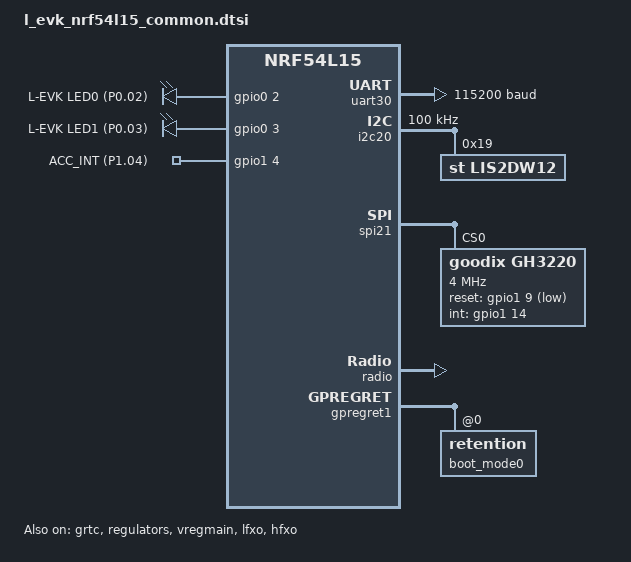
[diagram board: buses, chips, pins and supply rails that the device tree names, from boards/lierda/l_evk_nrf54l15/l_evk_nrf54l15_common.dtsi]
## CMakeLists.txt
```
cmake_minimum_required(VERSION 3.20.0)

# Keep the custom board versioned together with the application repository.
list(APPEND BOARD_ROOT ${CMAKE_CURRENT_SOURCE_DIR})

set(LIERDA_MODULE_ROOT ${CMAKE_CURRENT_SOURCE_DIR}/../../modules/lierda)
set(GH3220_APP_ROOT ${LIERDA_MODULE_ROOT}/l-evk-t2-gh3220/app_cardiff_a)

foreach(module gh3220_sdk os_adapter core_framework)
  if(NOT EXISTS ${LIERDA_MODULE_ROOT}/${module}/zephyr/module.yml AND
     NOT EXISTS ${LIERDA_MODULE_ROOT}/${module}/module.yml)
    message(FATAL_ERROR
      "Missing Lierda module '${module}'. Run ./update-modules.sh first.")
  endif()
  list(APPEND ZEPHYR_EXTRA_MODULES ${LIERDA_MODULE_ROOT}/${module})
endforeach()

if(NOT EXISTS ${GH3220_APP_ROOT}/src/gh3220_framework.c)
  message(FATAL_ERROR
    "Missing l-evk-t2-gh3220 example. Run ./update-modules.sh first.")
endif()

find_package(Zephyr REQUIRED HINTS $ENV{ZEPHYR_BASE})
project(l_evk_nrf54l15)

target_include_directories(app PRIVATE
  ${CMAKE_CURRENT_SOURCE_DIR}/src
  ${GH3220_APP_ROOT}/src
)

target_sources(app PRIVATE
  src/main.c
  src/imu_lis2dw12.c
  src/gh3220_ble_service.c
  ${GH3220_APP_ROOT}/src/gh3220_sdk/gh3220_app_hook_zephyr.c
  ${GH3220_APP_ROOT}/src/gh3220_framework.c
  ${GH3220_APP_ROOT}/src/gh3220_protocol_user.c
  ${GH3220_APP_ROOT}/src/gh3220_frame.c
  ${GH3220_APP_ROOT}/src/gh3220_scheduler.c
)
```

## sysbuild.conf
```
# Build MCUboot together with the application so DAPLink can install one
# reproducible pair and MCUmgr can use the matching signed BLE OTA image.
SB_CONFIG_BOOTLOADER_MCUBOOT=y
```

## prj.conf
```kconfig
# Enable the L-EVK board serial console and GPIO support.
CONFIG_GPIO=y
CONFIG_I2C=y
CONFIG_SPI=y
CONFIG_SERIAL=y
CONFIG_CONSOLE=y
CONFIG_UART_CONSOLE=y

# Use deferred UART logging so sensor and Bluetooth work is not blocked by
# formatted output.  The larger buffer absorbs the GH3220 startup burst while
# the shorter processing interval drains it promptly.
CONFIG_LOG=y
CONFIG_LOG_RUNTIME_FILTERING=y
CONFIG_LOG_MODE_IMMEDIATE=n
CONFIG_LOG_MODE_DEFERRED=y
CONFIG_LOG_DEFAULT_LEVEL=3
CONFIG_LOG_BACKEND_UART=y
CONFIG_LOG_BACKEND_SHOW_COLOR=n
CONFIG_LOG_BUFFER_SIZE=8192
CONFIG_LOG_PROCESS_THREAD_STACK_SIZE=1536
CONFIG_LOG_PROCESS_THREAD_SLEEP_MS=50
CONFIG_HWINFO=y

# Goodix GH3220 framework. Product register tables come from the vendor
# example while portable code and libraries come from modules/lierda.
CONFIG_FPU=y
CONFIG_FPU_SHARING=y
CONFIG_GH3220=y
CONFIG_GH3220_RTC_POLLING=y
CONFIG_GH3220_FUNC_HR_ENABLE=y
CONFIG_GH3220_ALGO=y
CONFIG_GH3220_ALGO_HR=y
CONFIG_GH3220_REG_LIST_SEARCH_PATH="../../modules/lierda/l-evk-t2-gh3220/app_cardiff_a/src/gh3220_sdk"
CONFIG_GH3220_SUPPORT_PROTOCOL_ANALYZE=y
CONFIG_GH3220_PROTOCOL_SERIAL_BLE=y
CONFIG_GH3220_UPLOAD_ALGO_RESULT=y
CONFIG_GH3220_MULTI_SENSOR_EVENT_PROCESS_ENABLE=n
CONFIG_COMPONENT_OSAL_ENABLE=y
CONFIG_OS_ADAPTER_RTOS_ZEPHYR=y
CONFIG_COMPONENT_CORE_FRAMEWORK_ENABLE=y
CONFIG_HEAP_MEM_POOL_SIZE=15360
CONFIG_GH3220_INFO_LOG_LEVEL=3

# MCUboot and MCUmgr image-management support for Bluetooth LE OTA.
CONFIG_BOOTLOADER_MCUBOOT=y
CONFIG_FLASH=y
CONFIG_FLASH_MAP=y
CONFIG_STREAM_FLASH=y
CONFIG_IMG_MANAGER=y
CONFIG_MCUMGR=y
CONFIG_MCUMGR_GRP_IMG=y
CONFIG_MCUMGR_GRP_OS=y
CONFIG_NET_BUF=y
CONFIG_ZCBOR=y
CONFIG_CRC=y

# Bluetooth LE SMP transport. The radio is an intentional product peripheral;
# the board definition only enables the peripherals populated on L-EVK.
CONFIG_BT=y
CONFIG_BT_PERIPHERAL=y
CONFIG_BT_DEVICE_NAME="L-EVK-NRF54L15"
CONFIG_BT_MAX_CONN=1
CONFIG_BT_L2CAP_TX_MTU=498
CONFIG_BT_BUF_ACL_RX_SIZE=502
CONFIG_BT_BUF_ACL_TX_SIZE=502
CONFIG_BT_CTLR_DATA_LENGTH_MAX=251
CONFIG_MCUMGR_TRANSPORT_BT=y
CONFIG_MCUMGR_TRANSPORT_BT_CONN_PARAM_CONTROL=y
CONFIG_MCUMGR_TRANSPORT_BT_REASSEMBLY=y
CONFIG_MCUMGR_TRANSPORT_NETBUF_SIZE=2475
CONFIG_MCUMGR_GRP_OS_MCUMGR_PARAMS=y
CONFIG_MCUMGR_TRANSPORT_WORKQUEUE_STACK_SIZE=4608

# MCUmgr requests are handled from the system work queue.
CONFIG_SYSTEM_WORKQUEUE_STACK_SIZE=4608
CONFIG_MAIN_STACK_SIZE=4096
CONFIG_THREAD_NAME=y
CONFIG_MCUBOOT_UTIL_LOG_LEVEL_WRN=y
```

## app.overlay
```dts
#include "dts/l_evk_ota_partitions.overlay"
```

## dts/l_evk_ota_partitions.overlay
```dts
/*
 * NCS SMP server-compatible layout for nRF54L15 internal RRAM.
 * Included explicitly by both the application and sysbuild's MCUboot image.
 *
 * This file intentionally does not use the boards/<board>.overlay name: that
 * name is auto-selected by Zephyr and would replace app.overlay.
 */

/delete-node/ &boot_partition;
/delete-node/ &slot0_partition;
/delete-node/ &slot1_partition;
/delete-node/ &storage_partition;

&cpuapp_rram {
	partitions {
		boot_partition: partition@0 {
			compatible = "zephyr,mapped-partition";
			label = "mcuboot";
			reg = <0x0 DT_SIZE_K(68)>;
		};

		slot0_partition: partition@11000 {
			compatible = "zephyr,mapped-partition";
			label = "image-0";
			reg = <0x11000 DT_SIZE_K(696)>;
		};

		slot1_partition: partition@bf000 {
			compatible = "zephyr,mapped-partition";
			label = "image-1";
			reg = <0xbf000 DT_SIZE_K(696)>;
		};

		storage_partition: partition@16d000 {
			compatible = "zephyr,mapped-partition";
			label = "storage";
			reg = <0x16d000 DT_SIZE_K(64)>;
		};
	};
};
```

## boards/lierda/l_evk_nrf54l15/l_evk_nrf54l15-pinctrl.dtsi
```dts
/* SPDX-License-Identifier: Apache-2.0 */

&pinctrl {
	uart30_default: uart30_default {
		group1 {
			psels = <NRF_PSEL(UART_TX, 0, 1)>;
		};

		group2 {
			psels = <NRF_PSEL(UART_RX, 0, 0)>;
			bias-pull-up;
		};
	};

	uart30_sleep: uart30_sleep {
		group1 {
			psels = <NRF_PSEL(UART_TX, 0, 1)>,
				<NRF_PSEL(UART_RX, 0, 0)>;
			low-power-enable;
		};
	};

	i2c20_default: i2c20_default {
		group1 {
			psels = <NRF_PSEL(TWIM_SCL, 1, 3)>,
				<NRF_PSEL(TWIM_SDA, 1, 6)>;
			bias-pull-up;
		};
	};

	i2c20_sleep: i2c20_sleep {
		group1 {
			psels = <NRF_PSEL(TWIM_SCL, 1, 3)>,
				<NRF_PSEL(TWIM_SDA, 1, 6)>;
			low-power-enable;
		};
	};

	spi21_default: spi21_default {
		group1 {
			psels = <NRF_PSEL(SPIM_SCK, 1, 12)>,
				<NRF_PSEL(SPIM_MOSI, 1, 13)>,
				<NRF_PSEL(SPIM_MISO, 1, 10)>;
		};
	};

	spi21_sleep: spi21_sleep {
		group1 {
			psels = <NRF_PSEL(SPIM_SCK, 1, 12)>,
				<NRF_PSEL(SPIM_MOSI, 1, 13)>,
				<NRF_PSEL(SPIM_MISO, 1, 10)>;
			low-power-enable;
		};
	};
};
```

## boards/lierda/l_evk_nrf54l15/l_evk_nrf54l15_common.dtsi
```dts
/* SPDX-License-Identifier: Apache-2.0 */

#include "l_evk_nrf54l15-pinctrl.dtsi"
#include <zephyr/dt-bindings/gpio/gpio.h>
#include <zephyr/dt-bindings/i2c/i2c.h>

/ {
	chosen {
		zephyr,console = &uart30;
		zephyr,shell-uart = &uart30;
		zephyr,flash-controller = &rram_controller;
		zephyr,flash = &cpuapp_rram;
		zephyr,boot-mode = &boot_mode0;
	};

	l_evk_leds: leds {
		compatible = "gpio-leds";

		l_evk_led0: led_0 {
			gpios = <&gpio0 2 GPIO_ACTIVE_HIGH>;
			label = "L-EVK LED0 (P0.02)";
		};

		l_evk_led1: led_1 {
			gpios = <&gpio0 3 GPIO_ACTIVE_HIGH>;
			label = "L-EVK LED1 (P0.03)";
		};
	};

	l_evk_imu_controls {
		compatible = "gpio-keys";

		l_evk_imu_int: imu_int {
			gpios = <&gpio1 4 GPIO_ACTIVE_HIGH>;
			label = "ACC_INT (P1.04)";
		};
	};

	aliases {
		led0 = &l_evk_led0;
		led1 = &l_evk_led1;
		watchdog0 = &wdt30;
	};
};

&cpuapp_sram {
	status = "okay";
};

&grtc {
	owned-channels = <0 1 2 3 4 5 6 7 8 9 10 11>;
	child-owned-channels = <3 4 7 8 9 10 11>;
	status = "okay";
};

&regulators {
	status = "okay";
};

&vregmain {
	status = "okay";
	regulator-initial-mode = <NRF5X_REG_MODE_DCDC>;
};

&lfxo {
	status = "okay";
	load-capacitors = "internal";
	load-capacitance-femtofarad = <17000>;
};

&hfxo {
	status = "okay";
	load-capacitors = "internal";
	load-capacitance-femtofarad = <15000>;
};

&clock {
	status = "okay";
};

&gpio0 {
	status = "okay";
};

&gpio1 {
	status = "okay";
};

&gpiote20 {
	status = "okay";
};

&gpiote30 {
	status = "okay";
};

&uart30 {
	status = "okay";
	current-speed = <115200>;
	pinctrl-0 = <&uart30_default>;
	pinctrl-1 = <&uart30_sleep>;
	pinctrl-names = "default", "sleep";
};

&i2c20 {
	status = "okay";
	compatible = "nordic,nrf-twim";
	clock-frequency = <I2C_BITRATE_STANDARD>;
	pinctrl-0 = <&i2c20_default>;
	pinctrl-1 = <&i2c20_sleep>;
	pinctrl-names = "default", "sleep";

	lis2dw12: lis2dw12@19 {
		compatible = "st,lis2dw12";
		reg = <0x19>;
		status = "okay";
	};
};

&spi21 {
	status = "okay";
	pinctrl-0 = <&spi21_default>;
	pinctrl-1 = <&spi21_sleep>;
	pinctrl-names = "default", "sleep";

	gh3220: gh3220@0 {
		compatible = "goodix,gh3220";
		reg = <0>;
		spi-max-frequency = <4000000>;
		cs-gpios = <&gpio1 11 GPIO_ACTIVE_LOW>;
		reset-gpios = <&gpio1 9 GPIO_ACTIVE_LOW>;
		int-gpios = <&gpio1 14 GPIO_ACTIVE_HIGH>;
		status = "okay";
	};
};

&nfct {
	status = "disabled";
};

&radio {
	status = "okay";
};

&gpregret1 {
	status = "okay";

	boot_mode0: boot_mode@0 {
		compatible = "zephyr,retention";
		status = "okay";
		reg = <0x0 0x1>;
	};
};
```

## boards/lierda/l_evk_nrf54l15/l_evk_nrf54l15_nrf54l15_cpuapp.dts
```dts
/* SPDX-License-Identifier: Apache-2.0 */

/dts-v1/;

#include <nordic/nrf54l15_cpuapp.dtsi>
#include "l_evk_nrf54l15_common.dtsi"
#include <vendor/nordic/nrf54l15_cpuapp_partition.dtsi>
#include "l_evk_nrf54l15_partition.dtsi"

/ {
	model = "L-EVK-NRF54L15";
	compatible = "lierda,l-evk-nrf54l15-nrf54l15-cpuapp";

	chosen {
		zephyr,code-partition = &slot0_partition;
		zephyr,sram = &cpuapp_sram;
	};
};
```

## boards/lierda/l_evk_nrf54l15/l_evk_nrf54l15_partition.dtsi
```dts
/* SPDX-License-Identifier: Apache-2.0 */

/*
 * Product OTA layout for the nRF54L15 internal RRAM.
 *
 * This file is included after Nordic's default partition description so the
 * application and every sysbuild image share one board-owned partition map.
 */

/delete-node/ &boot_partition;
/delete-node/ &slot0_partition;
/delete-node/ &slot1_partition;
/delete-node/ &storage_partition;

&cpuapp_rram {
	partitions {
		boot_partition: partition@0 {
			compatible = "zephyr,mapped-partition";
			label = "mcuboot";
			reg = <0x0 DT_SIZE_K(68)>;
		};

		slot0_partition: partition@11000 {
			compatible = "zephyr,mapped-partition";
			label = "image-0";
			reg = <0x11000 DT_SIZE_K(696)>;
		};

		slot1_partition: partition@bf000 {
			compatible = "zephyr,mapped-partition";
			label = "image-1";
			reg = <0xbf000 DT_SIZE_K(696)>;
		};

		storage_partition: partition@16d000 {
			compatible = "zephyr,mapped-partition";
			label = "storage";
			reg = <0x16d000 DT_SIZE_K(64)>;
		};
	};
};
```

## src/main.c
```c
/*
 * L-EVK-NRF54L15 application on the native Lierda board target.
 * LED0: P0.02, LED1: P0.03; UART30 TX: P0.01, RX: P0.00 (115200 8N1).
 */

#include <zephyr/drivers/gpio.h>
#include <zephyr/drivers/hwinfo.h>
#include <zephyr/kernel.h>
#include <zephyr/logging/log.h>
#include <zephyr/logging/log_ctrl.h>

#include "app_thread.h"
#include "gh3220_ble_service.h"
#include "gh3220_framework.h"
#include "gh3220_scheduler.h"
#include "imu_lis2dw12.h"

#define BLINK_INTERVAL_MS 1000U
#define IMU_LOG_INTERVAL_MS 1000U

/*
 * Application log switch:
 *   LOG_LEVEL_INF (default): normal startup/status logs; hide periodic data.
 *   LOG_LEVEL_DBG:           also print LED state and IMU acceleration.
 *   LOG_LEVEL_WRN/ERR/NONE:  progressively quieter output.
 */
#define L_EVK_LOG_LEVEL LOG_LEVEL_INF

BUILD_ASSERT(L_EVK_LOG_LEVEL >= LOG_LEVEL_NONE &&
	     L_EVK_LOG_LEVEL <= LOG_LEVEL_DBG,
	     "L_EVK_LOG_LEVEL must be a Zephyr LOG_LEVEL_* value");

/* Compile DBG messages in; L_EVK_LOG_LEVEL selects the runtime filter. */
LOG_MODULE_REGISTER(l_evk_blinky, LOG_LEVEL_DBG);

static void l_evk_set_log_level(void)
{
	static const char *const sources[] = {
		"l_evk_blinky",
		"l_evk_imu",
		"gh3220_port",
		"gh3220_raw_data",
		"gh3220_ble",
	};

	for (size_t i = 0U; i < ARRAY_SIZE(sources); ++i) {
		int source_id = log_source_id_get(sources[i]);

		if (source_id >= 0) {
			(void)log_filter_set(NULL, 0U, source_id, L_EVK_LOG_LEVEL);
		}
	}
}

static void l_evk_log_reset_cause(void)
{
	uint32_t cause;
	int ret = hwinfo_get_reset_cause(&cause);

	if (ret != 0) {
		LOG_WRN("Cannot read reset cause: %d", ret);
		return;
	}

	LOG_INF("Reset cause: raw=0x%08x", cause);
	if (cause & RESET_PIN) {
		LOG_INF("Reset cause flag: external pin");
	}
	if (cause & RESET_SOFTWARE) {
		LOG_INF("Reset cause flag: software");
	}
	if (cause & RESET_BROWNOUT) {
		LOG_INF("Reset cause flag: brownout");
	}
	if (cause & RESET_POR) {
		LOG_INF("Reset cause flag: power-on");
	}
	if (cause & RESET_WATCHDOG) {
		LOG_INF("Reset cause flag: watchdog");
	}
	if (cause & RESET_DEBUG) {
		LOG_INF("Reset cause flag: debug");
	}
	if (cause & RESET_LOW_POWER_WAKE) {
		LOG_INF("Reset cause flag: low-power wake");
	}
	if (cause & RESET_CPU_LOCKUP) {
		LOG_INF("Reset cause flag: CPU lockup");
	}
	if (cause & RESET_HARDWARE) {
		LOG_INF("Reset cause flag: hardware");
	}
	if (cause & RESET_BOOTLOADER) {
		LOG_INF("Reset cause flag: bootloader");
	}

	ret = hwinfo_clear_reset_cause();
	if (ret != 0) {
		LOG_WRN("Cannot clear reset cause: %d", ret);
	}
}

static const struct gpio_dt_spec leds[] = {
	GPIO_DT_SPEC_GET(DT_NODELABEL(l_evk_led0), gpios),
	GPIO_DT_SPEC_GET(DT_NODELABEL(l_evk_led1), gpios),
};

int main(void)
{
	bool leds_on = false;
	bool led_ready[ARRAY_SIZE(leds)] = { false };
	int64_t next_imu_log_ms;
	int ret;

	l_evk_set_log_level();
	l_evk_log_reset_cause();

	for (size_t i = 0; i < ARRAY_SIZE(leds); ++i) {
		if (!gpio_is_ready_dt(&leds[i])) {
			LOG_ERR("LED%u GPIO controller is not ready", (unsigned int)i);
			continue;
		}

		ret = gpio_pin_configure_dt(&leds[i], GPIO_OUTPUT_INACTIVE);
		if (ret != 0) {
			LOG_ERR("Cannot configure LED%u: %d", (unsigned int)i, ret);
			continue;
		}
		led_ready[i] = true;
	}

	LOG_INF("L-EVK-NRF54L15 started");
	LOG_INF("UART30: TX=P0.01 RX=P0.00, 115200 8N1");
	LOG_INF("LED0=P0.02 LED1=P0.03; blink interval=%u ms", BLINK_INTERVAL_MS);
	(void)l_evk_imu_init();

	app_thread_set_tick_period_ms(1000U);
	app_thread_init();
	ret = gh3220_framework_wait_ready();
	if (ret != 0) {
		LOG_ERR("GH3220 SDK initialization failed: %d", ret);
	} else {
		gh3220_scheduler_start();
		LOG_INF("GH3220 health framework started");
	}

	ret = l_evk_bt_start();
	if (ret != 0) {
		LOG_ERR("Bluetooth initialization failed: %d", ret);
	}
	next_imu_log_ms = k_uptime_get();

	while (true) {
		bool any_led_toggled = false;

		for (size_t i = 0; i < ARRAY_SIZE(leds); ++i) {
			if (!led_ready[i]) {
				continue;
			}
			ret = gpio_pin_toggle_dt(&leds[i]);
			if (ret != 0) {
				LOG_ERR("Cannot toggle LED%u: %d", (unsigned int)i, ret);
				led_ready[i] = false;
				continue;
			}
			any_led_toggled = true;
		}

		if (any_led_toggled) {
			leds_on = !leds_on;
			LOG_DBG("LED P0.02/P0.03: %s", leds_on ? "ON" : "OFF");
		}
		if (k_uptime_get() >= next_imu_log_ms) {
			l_evk_imu_log_sample();
			next_imu_log_ms += IMU_LOG_INTERVAL_MS;
		}
		k_msleep(BLINK_INTERVAL_MS);
	}
}
```

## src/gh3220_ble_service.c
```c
/* SPDX-License-Identifier: Apache-2.0 */

#include <zephyr/mgmt/mcumgr/transport/smp_bt.h>

#include <zephyr/bluetooth/bluetooth.h>
#include <zephyr/bluetooth/conn.h>
#include <zephyr/bluetooth/gatt.h>
#include <zephyr/kernel.h>
#include <zephyr/logging/log.h>
#include <zephyr/sys/atomic.h>
#include <string.h>

#include "gh3220_ble_service.h"
#include "gh3220_protocol_user.h"

LOG_MODULE_REGISTER(gh3220_ble, LOG_LEVEL_INF);

#define GH3220_BLE_RX_QUEUE_DEPTH 4
#define GH3220_BLE_RX_PACKET_MAX  251
#define GH3220_BLE_TX_QUEUE_DEPTH 8
#define GH3220_BLE_TX_RETRY_COUNT 5

struct gh3220_ble_rx_packet {
	uint32_t session;
	uint16_t len;
	uint8_t data[GH3220_BLE_RX_PACKET_MAX];
};

struct gh3220_ble_tx_packet {
	uint32_t session;
	uint16_t len;
	uint8_t data[GH3220_BLE_RX_PACKET_MAX];
};

K_MSGQ_DEFINE(gh3220_ble_rx_msgq,
	      sizeof(struct gh3220_ble_rx_packet),
	      GH3220_BLE_RX_QUEUE_DEPTH, 4);
K_MSGQ_DEFINE(gh3220_ble_tx_msgq,
	      sizeof(struct gh3220_ble_tx_packet),
	      GH3220_BLE_TX_QUEUE_DEPTH, 4);

static struct k_spinlock connection_lock;
static struct bt_conn *current_conn;
static bool rx_notify_enabled;
static uint32_t connection_session;
static atomic_t tx_drop_count;

static const struct bt_data ad[] = {
	BT_DATA_BYTES(BT_DATA_FLAGS, (BT_LE_AD_GENERAL | BT_LE_AD_NO_BREDR)),
	BT_DATA_BYTES(BT_DATA_UUID128_ALL, SMP_BT_SVC_UUID_VAL),
};
static const struct bt_data sd[] = {
	BT_DATA_BYTES(BT_DATA_UUID128_ALL, GH3220_BLE_SERVICE_UUID),
	BT_DATA_BYTES(BT_DATA_NAME_SHORTENED, 'L', '-', 'E', 'V', 'K', '-', '5', '4', 'L'),
};

static int gh3220_ble_notify_now(const uint8_t *data, uint16_t len,
				uint32_t session);

static void gh3220_ble_tx_thread(void *p1, void *p2, void *p3)
{
	struct gh3220_ble_tx_packet packet;
	int ret = -EIO;

	ARG_UNUSED(p1);
	ARG_UNUSED(p2);
	ARG_UNUSED(p3);

	while (1) {
		if (k_msgq_get(&gh3220_ble_tx_msgq, &packet, K_FOREVER) != 0) {
			continue;
		}

		ret = gh3220_ble_notify_now(packet.data, packet.len,
					   packet.session);
		if (ret != 0 && ret != -ENOTCONN) {
			LOG_WRN("GH3220 BLE notify failed: %d", ret);
		}
	}
}

K_THREAD_DEFINE(gh3220_ble_tx_tid, 2048, gh3220_ble_tx_thread,
		NULL, NULL, NULL, 5, 0, 0);

static void gh3220_ble_rx_thread(void *p1, void *p2, void *p3)
{
	struct gh3220_ble_rx_packet packet;

	ARG_UNUSED(p1);
	ARG_UNUSED(p2);
	ARG_UNUSED(p3);

	while (1) {
		if (k_msgq_get(&gh3220_ble_rx_msgq, &packet, K_FOREVER) == 0) {
			gh3220_protocol_receive(packet.data, packet.len, packet.session);
		}
	}
}

K_THREAD_DEFINE(gh3220_ble_rx_tid, 4096, gh3220_ble_rx_thread,
		NULL, NULL, NULL, 5, 0, 0);

static int gh3220_ble_rx_data(const uint8_t *data, uint16_t len)
{
	struct gh3220_ble_rx_packet packet;

	if ((data == NULL) || (len == 0U)) {
		return -EINVAL;
	}
	if (len > sizeof(packet.data)) {
		return -EMSGSIZE;
	}

	packet.len = len;
	memcpy(packet.data, data, len);
	packet.session = gh3220_ble_session();
	int err = k_msgq_put(&gh3220_ble_rx_msgq, &packet, K_NO_WAIT);
	if (err) {
		LOG_WRN("GH3220 RX queue full, dropping %u bytes", len);
	}
	return err;
}

static ssize_t tx_write(struct bt_conn *conn,
			const struct bt_gatt_attr *attr,
			const void *buf, uint16_t len,
			uint16_t offset, uint8_t flags)
{
	ARG_UNUSED(conn);
	ARG_UNUSED(attr);

	if (offset != 0U) {
		return BT_GATT_ERR(BT_ATT_ERR_INVALID_OFFSET);
	}

	if (flags & BT_GATT_WRITE_FLAG_PREPARE) {
		return BT_GATT_ERR(BT_ATT_ERR_WRITE_REQ_REJECTED);
	}
	if (len == 0U || len > GH3220_BLE_RX_PACKET_MAX) {
		return BT_GATT_ERR(BT_ATT_ERR_INVALID_ATTRIBUTE_LEN);
	}
	if (gh3220_ble_rx_data(buf, len) != 0) {
		return BT_GATT_ERR(BT_ATT_ERR_INSUFFICIENT_RESOURCES);
	}
	return len;
}

static void rx_ccc_changed(const struct bt_gatt_attr *attr, uint16_t value)
{
	ARG_UNUSED(attr);
	bool enabled = value == BT_GATT_CCC_NOTIFY;
	k_spinlock_key_t key = k_spin_lock(&connection_lock);
	rx_notify_enabled = enabled;
	if (!enabled) {
		connection_session++;
	}
	k_spin_unlock(&connection_lock, key);
	LOG_INF("GH3220 BLE RX notify %s", enabled ? "enabled" : "disabled");
	if (!enabled) {
		k_msgq_purge(&gh3220_ble_tx_msgq);
		gh3220_protocol_session_changed();
	}
}

static struct bt_uuid_128 service_uuid = BT_UUID_INIT_128(GH3220_BLE_SERVICE_UUID);
static struct bt_uuid_128 rx_uuid = BT_UUID_INIT_128(GH3220_BLE_RX_UUID);
static struct bt_uuid_128 tx_uuid = BT_UUID_INIT_128(GH3220_BLE_TX_UUID);

BT_GATT_SERVICE_DEFINE(gh3220_service,
	BT_GATT_PRIMARY_SERVICE(&service_uuid.uuid),
	BT_GATT_CHARACTERISTIC(&tx_uuid.uuid,
		BT_GATT_CHRC_WRITE | BT_GATT_CHRC_WRITE_WITHOUT_RESP,
		BT_GATT_PERM_WRITE, NULL, tx_write, NULL),
	BT_GATT_CHARACTERISTIC(&rx_uuid.uuid,
		BT_GATT_CHRC_NOTIFY,
		BT_GATT_PERM_NONE, NULL, NULL, NULL),
	BT_GATT_CCC(rx_ccc_changed, BT_GATT_PERM_READ | BT_GATT_PERM_WRITE)
);

static int gh3220_ble_notify_now(const uint8_t *data, uint16_t len,
				uint32_t session)
{
	struct bt_conn *conn = NULL;
	k_spinlock_key_t key = k_spin_lock(&connection_lock);
	if (current_conn && rx_notify_enabled &&
	    session == connection_session) {
		conn = bt_conn_ref(current_conn);
	}
	k_spin_unlock(&connection_lock, key);
	if (conn == NULL) {
		return -ENOTCONN;
	}
	int err = 0;
	for (uint16_t offset = 0; offset < len;) {
		key = k_spin_lock(&connection_lock);
		bool valid = current_conn == conn && rx_notify_enabled &&
			     session == connection_session;
		k_spin_unlock(&connection_lock, key);
		if (!valid) {
			err = -ENOTCONN;
			break;
		}
		uint16_t mtu = bt_gatt_get_mtu(conn);
		uint16_t chunk = MIN(len - offset, mtu - 3U);
		for (int retry = 0; retry < GH3220_BLE_TX_RETRY_COUNT; retry++) {
			err = bt_gatt_notify_uuid(conn, &rx_uuid.uuid,
						  gh3220_service.attrs,
						  data + offset, chunk);
			if (err != -ENOMEM && err != -EAGAIN) {
				break;
			}
			k_sleep(K_MSEC(5));
		}
		if (err) {
			break;
		}
		offset += chunk;
	}
	bt_conn_unref(conn);
	return err;
}

static void adv_restart_handler(struct k_work *work);
K_WORK_DEFINE(adv_restart_work, adv_restart_handler);

static void adv_restart_handler(struct k_work *work)
{
	ARG_UNUSED(work);
	int err = gh3220_ble_advertise();
	if (err) {
		LOG_ERR("Restart advertising failed: %d", err);
	} else {
		LOG_INF("Advertising restarted");
	}
}

static void connected(struct bt_conn *conn, uint8_t err)
{
	if (err != 0U) {
		LOG_ERR("GH3220 BLE connection failed: %u", err);
		return;
	}

	k_spinlock_key_t key = k_spin_lock(&connection_lock);
	current_conn = bt_conn_ref(conn);
	connection_session++;
	k_spin_unlock(&connection_lock, key);
	atomic_set(&tx_drop_count, 0);
	gh3220_protocol_session_changed();
	LOG_INF("GH3220 BLE connected");
}

static void disconnected(struct bt_conn *conn, uint8_t reason)
{
	ARG_UNUSED(conn);
	LOG_INF("GH3220 BLE disconnected: reason=%u", reason);
	k_spinlock_key_t key = k_spin_lock(&connection_lock);
	struct bt_conn *old_conn = current_conn;
	current_conn = NULL;
	rx_notify_enabled = false;
	connection_session++;
	k_spin_unlock(&connection_lock, key);
	if (old_conn != NULL) {
		bt_conn_unref(old_conn);
	}
	atomic_val_t dropped = atomic_get(&tx_drop_count);
	if (dropped > 0) {
		LOG_WRN("GH3220 BLE session dropped %ld TX packets", (long)dropped);
	}
	k_msgq_purge(&gh3220_ble_rx_msgq);
	k_msgq_purge(&gh3220_ble_tx_msgq);
	gh3220_protocol_session_changed();

}

static void recycled(void)
{
	/* The controller can advertise again once the connection slot is free. */
	k_work_submit(&adv_restart_work);
}

BT_CONN_CB_DEFINE(gh3220_conn_callbacks) = {
	.connected = connected,
	.disconnected = disconnected,
	.recycled = recycled,
};

int gh3220_ble_advertise(void)
{
	/* The static work item is ready before any connection callback fires. */
	return bt_le_adv_start(BT_LE_ADV_CONN_FAST_1, ad, ARRAY_SIZE(ad),
			      sd, ARRAY_SIZE(sd));
}

int l_evk_bt_start(void)
{
	int err = bt_enable(NULL);

	if (err != 0) {
		return err;
	}

	err = gh3220_ble_advertise();
	if (err == 0) {
		LOG_INF("BLE advertising started with SMP and GH3220 services");
	}
	return err;
}

int gh3220_ble_notify(const uint8_t *data, uint16_t len)
{
	struct gh3220_ble_tx_packet packet;

	if ((data == NULL) || (len == 0U)) {
		return -EINVAL;
	}
	if (len > sizeof(packet.data)) {
		return -EMSGSIZE;
	}

	packet.len = len;
	memcpy(packet.data, data, len);
	k_spinlock_key_t key = k_spin_lock(&connection_lock);
	packet.session = connection_session;
	bool ready = current_conn != NULL && rx_notify_enabled;
	k_spin_unlock(&connection_lock, key);
	if (!ready) {
		return -ENOTCONN;
	}

	/* This function is called while the GH3220 SDK mutex can be held. Never
	 * wait for a slow BLE peer here, otherwise sensor and protocol processing
	 * can be stalled by transport backpressure. The queue is best effort; a
	 * power-of-two warning cadence keeps persistent congestion observable
	 * without flooding the deferred log buffer.
	 */
	int err = k_msgq_put(&gh3220_ble_tx_msgq, &packet, K_NO_WAIT);
	if (err != 0) {
		uint32_t dropped = (uint32_t)atomic_inc(&tx_drop_count) + 1U;

		if ((dropped & (dropped - 1U)) == 0U) {
			LOG_WRN("GH3220 BLE TX queue full; dropped packets=%u", dropped);
		}
		return 0;
	}

	return 0;
}

bool gh3220_ble_is_connected(void)
{
	k_spinlock_key_t key = k_spin_lock(&connection_lock);
	bool connected = current_conn != NULL;
	k_spin_unlock(&connection_lock, key);
	return connected;
}

uint32_t gh3220_ble_session(void)
{
	k_spinlock_key_t key = k_spin_lock(&connection_lock);
	uint32_t session = connection_session;
	k_spin_unlock(&connection_lock, key);
	return session;
}
```

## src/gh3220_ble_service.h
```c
/* SPDX-License-Identifier: Apache-2.0 */

#pragma once

#include <stdbool.h>
#include <stdint.h>

#include <zephyr/bluetooth/uuid.h>

/*
 * GH3220 BLE transport used by ComBridge.
 *
 * GATT UUIDs from the reference application carrying GH3220 uprotocol frames.
 */
/* ghealth-tools default service UUID: 0x190e. */
#define GH3220_BLE_SERVICE_UUID \
	BT_UUID_128_ENCODE(0x0000190e, 0x0000, 0x1000, 0x8000, 0x00805f9b34fb)
/* Slave sends responses/data through RX (0x0003). */
#define GH3220_BLE_RX_UUID \
	BT_UUID_128_ENCODE(0x00000003, 0x0000, 0x1000, 0x8000, 0x00805f9b34fb)
/* Master writes commands to TX (0x0004). */
#define GH3220_BLE_TX_UUID \
	BT_UUID_128_ENCODE(0x00000004, 0x0000, 0x1000, 0x8000, 0x00805f9b34fb)

int l_evk_bt_start(void);
int gh3220_ble_advertise(void);
int gh3220_ble_notify(const uint8_t *data, uint16_t len);
bool gh3220_ble_is_connected(void);
uint32_t gh3220_ble_session(void);
```

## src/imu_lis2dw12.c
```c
/*
 * LIS2DW12TR hardware-I2C polling interface for L-EVK.
 */

#include "imu_lis2dw12.h"

#include <errno.h>
#include <stdint.h>

#include <zephyr/drivers/gpio.h>
#include <zephyr/drivers/i2c.h>
#include <zephyr/kernel.h>
#include <zephyr/logging/log.h>

#include <hal/nrf_nfct.h>

#define LIS2DW12_WHO_AM_I_REG      0x0FU
#define LIS2DW12_WHO_AM_I_VALUE    0x44U
#define LIS2DW12_CTRL1_REG         0x20U
#define LIS2DW12_CTRL3_REG         0x22U
#define LIS2DW12_OUT_X_L_REG       0x28U

#define LIS2DW12_CTRL1_25HZ_HP     0x34U
#define LIS2DW12_CTRL3_BDU         0x08U
#define LIS2DW12_GAIN_UG_PER_LSB   244LL
#define SENSOR_G_UM_S2             9806650LL

/* Runtime filtering is selected centrally by L_EVK_LOG_LEVEL in main.c. */
LOG_MODULE_REGISTER(l_evk_imu, LOG_LEVEL_DBG);

static const struct i2c_dt_spec imu_i2c =
	I2C_DT_SPEC_GET(DT_NODELABEL(lis2dw12));
static const struct gpio_dt_spec imu_int =
	GPIO_DT_SPEC_GET(DT_NODELABEL(l_evk_imu_int), gpios);

static bool imu_ready;

static void imu_release_nfc_pads(void)
{
	/*
	 * P1.03 doubles as NFC2 and is assigned to NFCT after reset. Disabling
	 * PADCONFIG releases the physical pad for the TWIM20 SCL signal.
	 */
#if NRF_NFCT_HAS_PAD_CONFIG_REG
	nrf_nfct_pad_config_enable_set(NRF_NFCT, false);
#endif
}

static int lis2dw12_write_reg(uint8_t reg, uint8_t value)
{
	const uint8_t buffer[] = { reg, value };

	return i2c_write_dt(&imu_i2c, buffer, sizeof(buffer));
}

static int lis2dw12_read_regs(uint8_t reg, uint8_t *data, size_t length)
{
	return i2c_write_read_dt(&imu_i2c, &reg, sizeof(reg), data, length);
}

static uint64_t absolute_value(int64_t value)
{
	return value < 0 ? (uint64_t)(-value) : (uint64_t)value;
}

static int64_t raw_to_um_s2(int16_t raw)
{
	/* High-performance output is left aligned; the official driver shifts 2. */
	return ((int64_t)(raw >> 2) * LIS2DW12_GAIN_UG_PER_LSB * SENSOR_G_UM_S2) /
	       1000000LL;
}

int l_evk_imu_init(void)
{
	uint8_t value = 0U;
	int ret;

	imu_release_nfc_pads();
	if (!i2c_is_ready_dt(&imu_i2c)) {
		LOG_ERR("IMU I2C20 controller is not ready");
		return -ENODEV;
	}
	if (!gpio_is_ready_dt(&imu_int)) {
		LOG_ERR("IMU interrupt GPIO controller is not ready");
		return -ENODEV;
	}
	ret = gpio_pin_configure_dt(&imu_int, GPIO_INPUT);
	if (ret != 0) {
		LOG_ERR("Cannot configure ACC_INT (P1.04): %d", ret);
		return ret;
	}
	ret = lis2dw12_read_regs(LIS2DW12_WHO_AM_I_REG, &value, 1U);
	if (ret != 0 || value != LIS2DW12_WHO_AM_I_VALUE) {
		LOG_ERR("LIS2DW12TR hardware-I2C probe failed: ret=%d id=0x%02x", ret, value);
		return ret != 0 ? ret : -ENODEV;
	}
	ret = lis2dw12_read_regs(LIS2DW12_CTRL3_REG, &value, 1U);
	if (ret == 0) {
		ret = lis2dw12_write_reg(LIS2DW12_CTRL3_REG, value | LIS2DW12_CTRL3_BDU);
	}
	if (ret == 0) {
		ret = lis2dw12_write_reg(LIS2DW12_CTRL1_REG, LIS2DW12_CTRL1_25HZ_HP);
	}
	if (ret != 0) {
		LOG_ERR("LIS2DW12TR hardware-I2C configuration failed: %d", ret);
		return ret;
	}

	imu_ready = true;
	LOG_INF("LIS2DW12TR ready: TWIM20 SCL=P1.03 SDA=P1.06, 100 kHz, ODR=25 Hz, +/-2 g");
	return 0;
}

void l_evk_imu_log_sample(void)
{
	uint8_t buffer[6];
	int16_t raw[3];
	int64_t x;
	int64_t y;
	int64_t z;
	int ret;

	if (!imu_ready) {
		if (l_evk_imu_init() != 0) {
			return;
		}
	}
	ret = lis2dw12_read_regs(LIS2DW12_OUT_X_L_REG, buffer, sizeof(buffer));
	if (ret != 0) {
		LOG_ERR("LIS2DW12TR hardware-I2C sample read failed: %d", ret);
		imu_ready = false;
		return;
	}
	for (size_t i = 0U; i < ARRAY_SIZE(raw); ++i) {
		raw[i] = (int16_t)((uint16_t)buffer[i * 2U] |
					 ((uint16_t)buffer[i * 2U + 1U] << 8));
	}

	x = raw_to_um_s2(raw[0]);
	y = raw_to_um_s2(raw[1]);
	z = raw_to_um_s2(raw[2]);
	LOG_DBG("ACC[m/s2] X=%c%llu.%03llu Y=%c%llu.%03llu Z=%c%llu.%03llu",
		x < 0 ? '-' : '+', (unsigned long long)(absolute_value(x) / 1000000U),
		(unsigned long long)((absolute_value(x) % 1000000U) / 1000U),
		y < 0 ? '-' : '+', (unsigned long long)(absolute_value(y) / 1000000U),
		(unsigned long long)((absolute_value(y) % 1000000U) / 1000U),
		z < 0 ? '-' : '+', (unsigned long long)(absolute_value(z) / 1000000U),
		(unsigned long long)((absolute_value(z) % 1000000U) / 1000U));
}
```

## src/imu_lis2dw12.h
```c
/*
 * LIS2DW12TR application interface.
 */

#ifndef L_EVK_IMU_LIS2DW12_H_
#define L_EVK_IMU_LIS2DW12_H_

int l_evk_imu_init(void);
void l_evk_imu_log_sample(void);

#endif /* L_EVK_IMU_LIS2DW12_H_ */
```

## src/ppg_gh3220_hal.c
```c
/*
 * GH3220 hardware-abstraction layer.
 *
 * This module deliberately initializes only the SPI transport, reset output,
 * and interrupt input. GH3220 register access and PPG algorithms are not
 * implemented yet.
 */

#include "ppg_gh3220_hal.h"

#include <zephyr/device.h>
#include <zephyr/drivers/gpio.h>
#include <zephyr/drivers/spi.h>
#include <zephyr/kernel.h>
#include <zephyr/logging/log.h>

LOG_MODULE_REGISTER(l_evk_ppg_hal, LOG_LEVEL_INF);

static const struct device *const gh3220_spi = DEVICE_DT_GET(DT_NODELABEL(spi21));
static const struct gpio_dt_spec gh3220_cs =
	GPIO_DT_SPEC_GET(DT_NODELABEL(spi21), cs_gpios);
static const struct gpio_dt_spec gh3220_reset =
	GPIO_DT_SPEC_GET(DT_NODELABEL(l_evk_ppg_reset), gpios);
static const struct gpio_dt_spec gh3220_int =
	GPIO_DT_SPEC_GET(DT_NODELABEL(l_evk_ppg_int), gpios);

int l_evk_ppg_hal_init(void)
{
	int ret;

	if (!device_is_ready(gh3220_spi)) {
		LOG_ERR("GH3220 SPI21 is not ready");
		return -ENODEV;
	}

	if (!gpio_is_ready_dt(&gh3220_cs) || !gpio_is_ready_dt(&gh3220_reset) ||
	    !gpio_is_ready_dt(&gh3220_int)) {
		LOG_ERR("GH3220 GPIO controller is not ready");
		return -ENODEV;
	}

	/* CS is active-low: leave it deasserted while no GH3220 transactions run. */
	ret = gpio_pin_configure_dt(&gh3220_cs, GPIO_OUTPUT_INACTIVE);
	if (ret != 0) {
		LOG_ERR("Cannot configure PPG_SPI_CS (P1.11): %d", ret);
		return ret;
	}

	/* RST is active-low. Keep GH3220 out of reset after power-up. */
	ret = gpio_pin_configure_dt(&gh3220_reset, GPIO_OUTPUT_INACTIVE);
	if (ret != 0) {
		LOG_ERR("Cannot configure PPG_RST (P1.09): %d", ret);
		return ret;
	}

	ret = gpio_pin_configure_dt(&gh3220_int, GPIO_INPUT);
	if (ret != 0) {
		LOG_ERR("Cannot configure PPG_INT (P1.14): %d", ret);
		return ret;
	}

	k_msleep(2);
	LOG_INF("GH3220 HAL ready: SPI21 SCK=P1.12 MOSI=P1.13 MISO=P1.10 CS=P1.11");
	LOG_INF("GH3220 register driver is intentionally not enabled");
	return 0;
}
```

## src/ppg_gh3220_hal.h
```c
/*
 * GH3220 transport and GPIO initialization interface.
 */

#ifndef L_EVK_PPG_GH3220_HAL_H_
#define L_EVK_PPG_GH3220_HAL_H_

int l_evk_ppg_hal_init(void);

#endif /* L_EVK_PPG_GH3220_HAL_H_ */
```

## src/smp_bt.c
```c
/* Bluetooth LE advertising for the Zephyr MCUmgr SMP OTA service. */

#include <zephyr/bluetooth/bluetooth.h>
#include <zephyr/bluetooth/conn.h>
#include <zephyr/bluetooth/gatt.h>
#include <zephyr/bluetooth/hci.h>
#include <zephyr/kernel.h>
#include <zephyr/logging/log.h>
#include <zephyr/mgmt/mcumgr/transport/smp_bt.h>

LOG_MODULE_REGISTER(l_evk_smp_bt, LOG_LEVEL_INF);

static struct k_work advertise_work;

static const struct bt_data ad[] = {
	BT_DATA_BYTES(BT_DATA_FLAGS, BT_LE_AD_GENERAL | BT_LE_AD_NO_BREDR),
	BT_DATA_BYTES(BT_DATA_UUID128_ALL, SMP_BT_SVC_UUID_VAL),
};

static const struct bt_data sd[] = {
	BT_DATA(BT_DATA_NAME_COMPLETE, CONFIG_BT_DEVICE_NAME,
		sizeof(CONFIG_BT_DEVICE_NAME) - 1),
};

static void advertise(struct k_work *work)
{
	int err;

	ARG_UNUSED(work);
	err = bt_le_adv_start(BT_LE_ADV_CONN_FAST_1, ad, ARRAY_SIZE(ad), sd, ARRAY_SIZE(sd));
	if (err != 0) {
		LOG_ERR("Cannot start OTA advertising: %d", err);
		return;
	}

	LOG_INF("BLE OTA advertising started: %s", CONFIG_BT_DEVICE_NAME);
}

static void connected(struct bt_conn *conn, uint8_t err)
{
	ARG_UNUSED(conn);

	if (err != 0) {
		LOG_WRN("BLE connection failed: 0x%02x (%s)", err, bt_hci_err_to_str(err));
		k_work_submit(&advertise_work);
		return;
	}

	LOG_INF("BLE OTA client connected");
}

static void disconnected(struct bt_conn *conn, uint8_t reason)
{
	ARG_UNUSED(conn);
	LOG_INF("BLE OTA client disconnected: 0x%02x (%s)", reason, bt_hci_err_to_str(reason));
}

static void recycled(void)
{
	k_work_submit(&advertise_work);
}

BT_CONN_CB_DEFINE(l_evk_conn_callbacks) = {
	.connected = connected,
	.disconnected = disconnected,
	.recycled = recycled,
};

static void bt_ready(int err)
{
	if (err != 0) {
		LOG_ERR("Bluetooth initialization failed: %d", err);
		return;
	}

	k_work_submit(&advertise_work);
}

void l_evk_smp_bt_start(void)
{
	int err;

	k_work_init(&advertise_work, advertise);
	err = bt_enable(bt_ready);
	if (err != 0) {
		LOG_ERR("Cannot enable Bluetooth: %d", err);
	}
}
```
